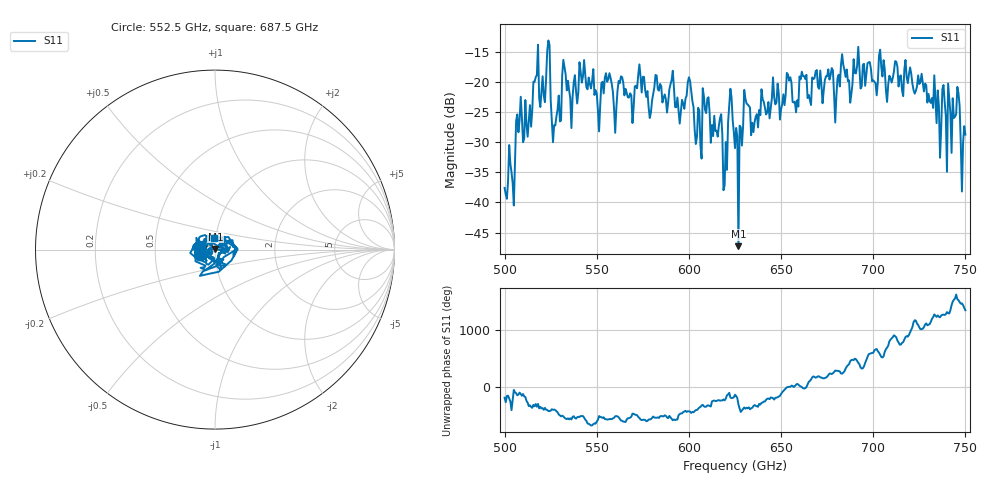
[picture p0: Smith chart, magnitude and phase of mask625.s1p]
!Created with skrf (http://scikit-rf.org).
# GHz S MA R 50.0
!freq magS11 angS11
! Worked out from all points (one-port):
!   401 points, 500 GHz to 750 GHz, reference 50 ohm
!   lowest |S11| = -47.3 dB at 626.9 GHz (marker M1), VSWR 1.01, Z = 50.2 + j0.38 ohm
!   |S11| at or under -10 dB: start of sweep to end of sweep
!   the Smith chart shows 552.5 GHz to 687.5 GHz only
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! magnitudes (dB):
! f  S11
! 500 GHz  -37.6
! 504.4 GHz  -36.8
! 507.5 GHz  -28.4
! 513.8 GHz  -23.9
! 516.9 GHz  -19.2
! 520.6 GHz  -19.1
! 523.8 GHz  -13.2
! 526.9 GHz  -27.2
! 531.2 GHz  -18.9
! 541.9 GHz  -20.2
! 550.6 GHz  -24.7
! 556.2 GHz  -19.6
! 560 GHz  -28.5
! 562.5 GHz  -20.3
! 593.8 GHz  -22.6
! 600.6 GHz  -19.9
! 605.6 GHz  -24.7
! 608.8 GHz  -24.7
! 619.4 GHz  -37.1
! 622.5 GHz  -21.2
! 625 GHz  -31.0
! 626.9 GHz  -47.3
! 631.2 GHz  -23.6
! 635 GHz  -28.4
! 656.2 GHz  -23.4
! 687.5 GHz  -23.5
! 718.8 GHz  -20.2
! 750 GHz  -28.8
